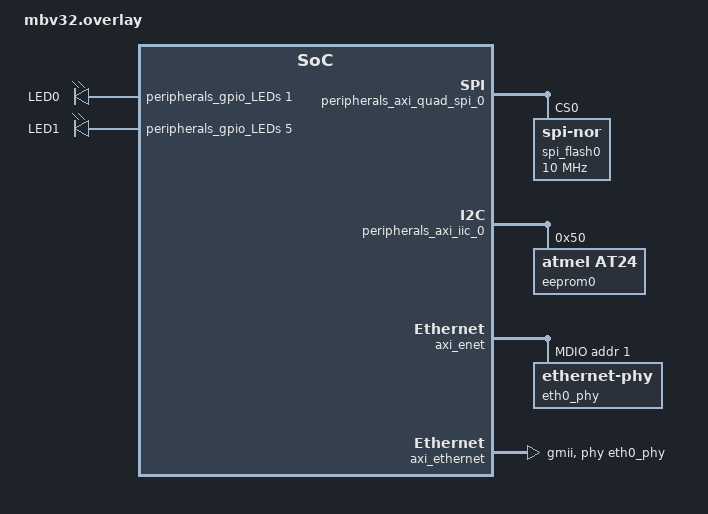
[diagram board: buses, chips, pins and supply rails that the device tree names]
#include <zephyr/dt-bindings/gpio/gpio.h>

/ {
    /* User LEDs connected to AXI GPIO. */
    leds {
        compatible = "gpio-leds";

        led0: led_0 {
            gpios = <&peripherals_gpio_LEDs 1 GPIO_ACTIVE_HIGH>;
            label = "LED0";
        };

        led1: led_1 {
            gpios = <&peripherals_gpio_LEDs 5 GPIO_ACTIVE_HIGH>;
            label = "LED1";
        };
    };

    aliases {
        led0 = &led0;
        led1 = &led1;

        /* Reference the existing MAC child in the board DTS. */
        ethernet0 = &axi_ethernet;
    };

    chosen {
        /* Use MicroBlaze V local BRAM as system RAM. */
        zephyr,sram =
            &lpddr5_lpddrmc_0_ddr_memory;
    };
};

/* External SPI NOR flash. */
&peripherals_axi_quad_spi_0 {
    status = "okay";

    spi_flash0: flash@0 {
        compatible = "jedec,spi-nor";
        status = "okay";

        /* SPI chip-select index. */
        reg = <0>;

        /* Conservative clock for initial bring-up. */
        spi-max-frequency = <10000000>;

        jedec-id = [20 bb 18];

        /* SPI NOR capacity is in bits: 128 Mbit = 16 MiB. */
        size = <0x08000000>;
    };
};

/* M24C64 I2C EEPROM. */
&peripherals_axi_iic_0 {
    status = "okay";

    eeprom0: eeprom@50 {
        compatible = "atmel,at24";
        status = "okay";

        /* 7-bit I2C address. */
        reg = <0x50>;

        /* EEPROM capacity and page size are in bytes. */
        size = <8192>;
        pagesize = <32>;

        /* Two-byte EEPROM memory addresses. */
        address-width = <16>;

        /* Write-cycle timeout in milliseconds. */
        timeout = <5>;
    };
};

/*
 * AXI Ethernet subsystem.
 *
 * The board DTS already defines this parent and its MAC child.
 * Keep the existing register range and add the MDIO bus and PHY.
 */
&axi_enet {
    status = "okay";

    eth0_mdio: mdio {
        compatible = "xlnx,axi-ethernet-1.00.a-mdio";
        status = "okay";

        #address-cells = <1>;
        #size-cells = <0>;

        /*
         * Input clock used by the Zephyr 4.x AXIENET MDIO driver
         * to calculate the MDC divider.
         *
         * Confirm the MAC AXI-Lite clock is actually 200 MHz.
         */
        clock-frequency = <200000000>;

        eth0_phy: ethernet-phy@1 {
            /* Generic PHY driver; relies on correct hardware straps. */
            compatible = "ethernet-phy";
            status = "okay";

            /* Must match the PHY's strapped MDIO address. */
            reg = <1>;
        };
    };
};

/* Configure the existing AXI Ethernet MAC. */
&axi_ethernet {
    status = "okay";

    /* Associate the MAC with the DP83867 PHY. */
    phy-handle = <&eth0_phy>;
    phy-connection-type = "gmii";

    /* DMA controller connected to the MAC's AXI streams. */
    axistream-connected =
            <&peripherals_eth0_axi_ethernet_0_dma>;

    /*
     * Locally administered unicast MAC address.
     * Assign a unique address to each board on the network.
     */
    local-mac-address = [02 00 00 00 00 01];

    /* Hardware checksum offload is disabled in this design. */
    xlnx,rxcsum = <0>;
    xlnx,txcsum = <0>;

    /*
     * Omit optional MAC interrupts for initial bring-up.
     * MDIO uses polling; packet transfers use the DMA interrupts.
     */
    /delete-property/ interrupts;
    /delete-property/ interrupt-names;
};

/*
 * AXI DMA used by Ethernet.
 * Retain the board's register range and TX/RX interrupt definitions.
 */
&peripherals_eth0_axi_ethernet_0_dma {
    status = "okay";

    /* MM2S transmits packets; S2MM receives packets. */
    dma-channels = <2>;

    /*
     * Keep MAC -> DMA references only.
     * Reverse references can create a devicetree dependency cycle.
     */
    /delete-property/ axistream-connected;
    /delete-property/ axistream-control-connected;
};
